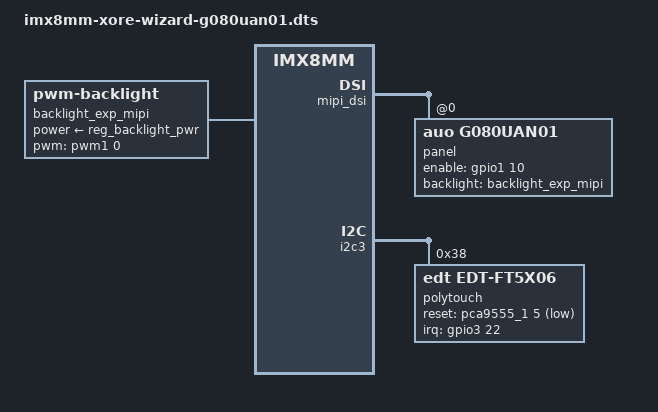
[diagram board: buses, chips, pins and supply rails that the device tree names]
/*
 * Copyright 2018 Technexion Ltd.
 * Copyright 2018 NXP
 *
 * Author: Richard Hu <richard.hu@technexion.com>
 *         Andy Lin <andy.lin@technexion.com>
 *
 * This program is free software; you can redistribute it and/or
 * modify it under the terms of the GNU General Public License
 * as published by the Free Software Foundation; either version 2
 * of the License, or (at your option) any later version.
 *
 * This program is distributed in the hope that it will be useful,
 * but WITHOUT ANY WARRANTY; without even the implied warranty of
 * MERCHANTABILITY or FITNESS FOR A PARTICULAR PURPOSE.  See the
 * GNU General Public License for more details.
 */

#include "imx8mm-xore-wizard.dts"

/ {
        backlight_exp_mipi: backlight_exp_mipi {
		compatible = "pwm-backlight";
		pwms = <&pwm1 0 50000 0>;
		brightness-levels = <0 36 72 108 144 180 216 255>;
		default-brightness-level = <6>;
		power-supply = <&reg_backlight_pwr>;
                status = "okay";
        };
};

&mipi_dsi {
       status = "okay";

        panel@0 {
                compatible = "auo,g080uan01";
                reg = <0>;
                pinctrl-0 = <&pinctrl_mipi_dsi_rst>;
                enable-gpios = <&gpio1 10 GPIO_ACTIVE_HIGH>;
                backlight = <&backlight_exp_mipi>;
                status = "okay";
        };
};

&i2c3 {
        polytouch: edt-ft5x06@38 {
                compatible = "edt,edt-ft5x06";
                reg = <0x38>;
                pinctrl-names = "default";
                pinctrl-0 = <&pinctrl_touch_irq>;
                interrupt-parent = <&gpio3>;
                interrupts = <22 IRQ_TYPE_EDGE_FALLING>;
                reset-gpios = <&pca9555_1 5 GPIO_ACTIVE_LOW>;
                touchscreen-size-x = <1200>;
                touchscreen-size-y = <1920>;
        };
};















